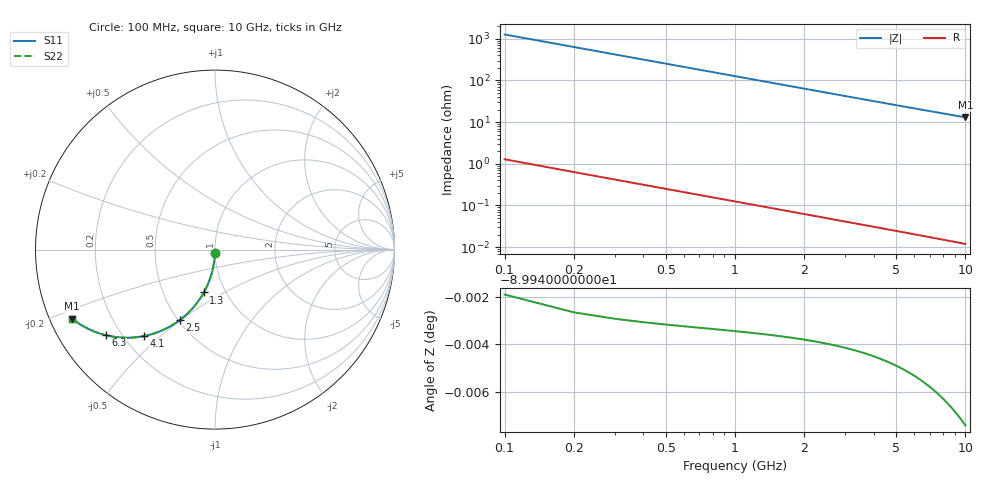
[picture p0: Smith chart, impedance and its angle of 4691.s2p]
# Hz S RI R 50.00
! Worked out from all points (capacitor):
!   100 points, 100 MHz to 10 GHz, reference 50 ohm
!   read as one part in shunt: C = 1.26 pF near 100 MHz
!   lowest |Z| = 13 ohm at 10 GHz (marker M1)
!   S11 on the Smith chart (normalised r, x): 100 MHz: 1.00, -0.04; 1.3 GHz: 0.79, -0.40; 2.5 GHz: 0.51, -0.50; 4.1 GHz: 0.28, -0.44; 6.3 GHz: 0.14, -0.34; 10 GHz: 0.06, -0.23
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1e8  -0.000377 -0.0196  0.9996 -0.0199  0.9996 -0.0199  -0.000377 -0.0196
2e8  -0.00157 -0.0391  0.9984 -0.0398  0.9984 -0.0398  -0.00157 -0.0391
3e8  -0.00353 -0.0586  0.9964 -0.0596  0.9964 -0.0596  -0.00353 -0.0586
4e8  -0.00625 -0.0779  0.9937 -0.0792  0.9937 -0.0792  -0.00625 -0.0779
5e8  -0.00973 -0.097  0.9902 -0.0987  0.9902 -0.0987  -0.00973 -0.097
6e8  -0.0139 -0.1159  0.986 -0.1179  0.986 -0.1179  -0.0139 -0.1159
8e8  -0.0245 -0.1529  0.9754 -0.1555  0.9754 -0.1555  -0.0245 -0.1529
1e9  -0.0377 -0.1884  0.9622 -0.1918  0.9622 -0.1918  -0.0377 -0.1884
1.3e9  -0.0621 -0.2387  0.9379 -0.243  0.9379 -0.243  -0.0621 -0.2387
1.5e9  -0.0809 -0.2698  0.919 -0.2748  0.919 -0.2748  -0.0809 -0.2698
1.8e9  -0.1125 -0.3125  0.8875 -0.3185  0.8875 -0.3185  -0.1125 -0.3125
2.1e9  -0.147 -0.3502  0.8529 -0.3572  0.8529 -0.3572  -0.147 -0.3502
2.5e9  -0.1963 -0.3925  0.8036 -0.4009  0.8036 -0.4009  -0.1963 -0.3925
2.9e9  -0.2472 -0.4261  0.7527 -0.4358  0.7527 -0.4358  -0.2472 -0.4261
3.4e9  -0.3109 -0.4567  0.6889 -0.4681  0.6889 -0.4681  -0.3109 -0.4567
4.1e9  -0.3961 -0.4817  0.6037 -0.4955  0.6037 -0.4955  -0.3961 -0.4817
5.1e9  -0.5037 -0.4909  0.4961 -0.5081  0.4961 -0.5081  -0.5037 -0.4909
6.3e9  -0.6078 -0.477  0.3919 -0.4984  0.3919 -0.4984  -0.6078 -0.477
6.7e9  -0.6368 -0.4689  0.3629 -0.4918  0.3629 -0.4918  -0.6368 -0.4689
7.5e9  -0.6874 -0.4501  0.3122 -0.4758  0.3122 -0.4758  -0.6874 -0.4501
8.4e9  -0.7342 -0.4266  0.2653 -0.4556  0.2653 -0.4556  -0.7342 -0.4266
1e10  -0.797 -0.3841  0.2023 -0.4188  0.2023 -0.4188  -0.797 -0.3841
